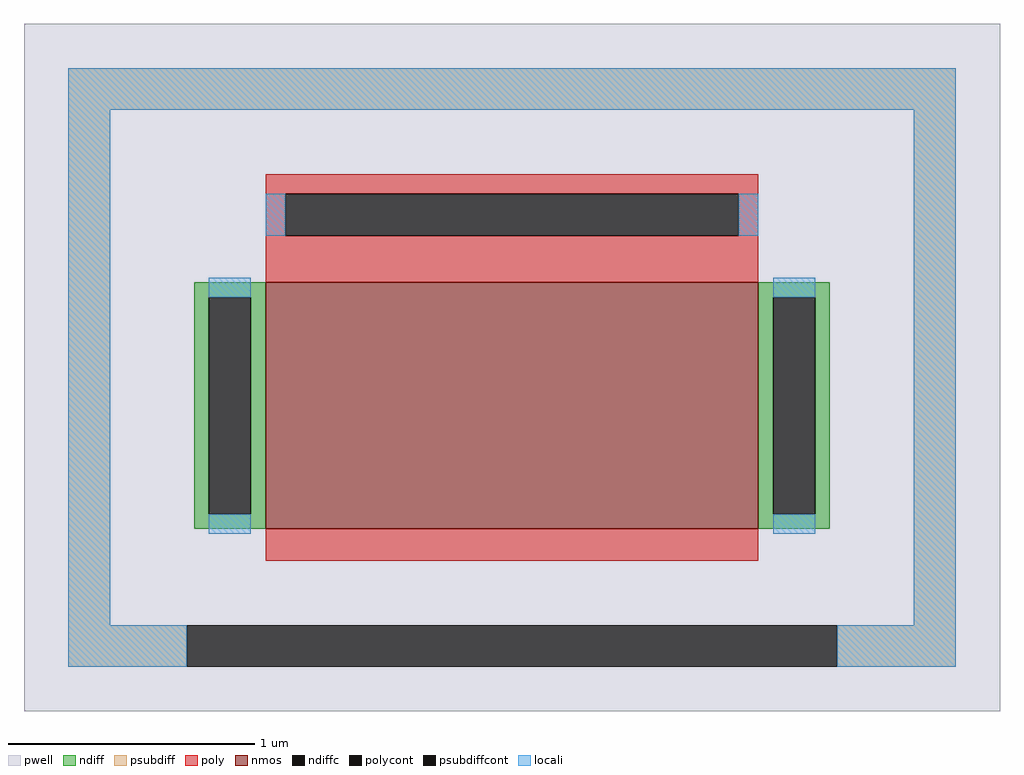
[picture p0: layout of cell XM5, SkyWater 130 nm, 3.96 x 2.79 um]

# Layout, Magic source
magic
tech sky130A
magscale 1 2
<< pwell >>
rect -396 -279 396 279
<< nmos >>
rect -200 -131 200 69
<< ndiff >>
rect -258 57 -200 69
rect -258 -119 -246 57
rect -212 -119 -200 57
rect -258 -131 -200 -119
rect 200 57 258 69
rect 200 -119 212 57
rect 246 -119 258 57
rect 200 -131 258 -119
<< ndiffc >>
rect -246 -119 -212 57
rect 212 -119 246 57
<< psubdiff >>
rect -360 209 360 243
rect -360 -209 -326 209
rect 326 -209 360 209
rect -360 -243 -264 -209
rect 264 -243 360 -209
<< psubdiffcont >>
rect -264 -243 264 -209
<< poly >>
rect -200 141 200 157
rect -200 107 -184 141
rect 184 107 200 141
rect -200 69 200 107
rect -200 -157 200 -131
<< polycont >>
rect -184 107 184 141
<< locali >>
rect -360 209 360 243
rect -360 -209 -326 209
rect -200 107 -184 141
rect 184 107 200 141
rect -246 57 -212 73
rect -246 -135 -212 -119
rect 212 57 246 73
rect 212 -135 246 -119
rect 326 -209 360 209
rect -360 -243 -264 -209
rect 264 -243 360 -209
<< properties >>
string FIXED_BBOX -343 -226 343 226
<< end >>
